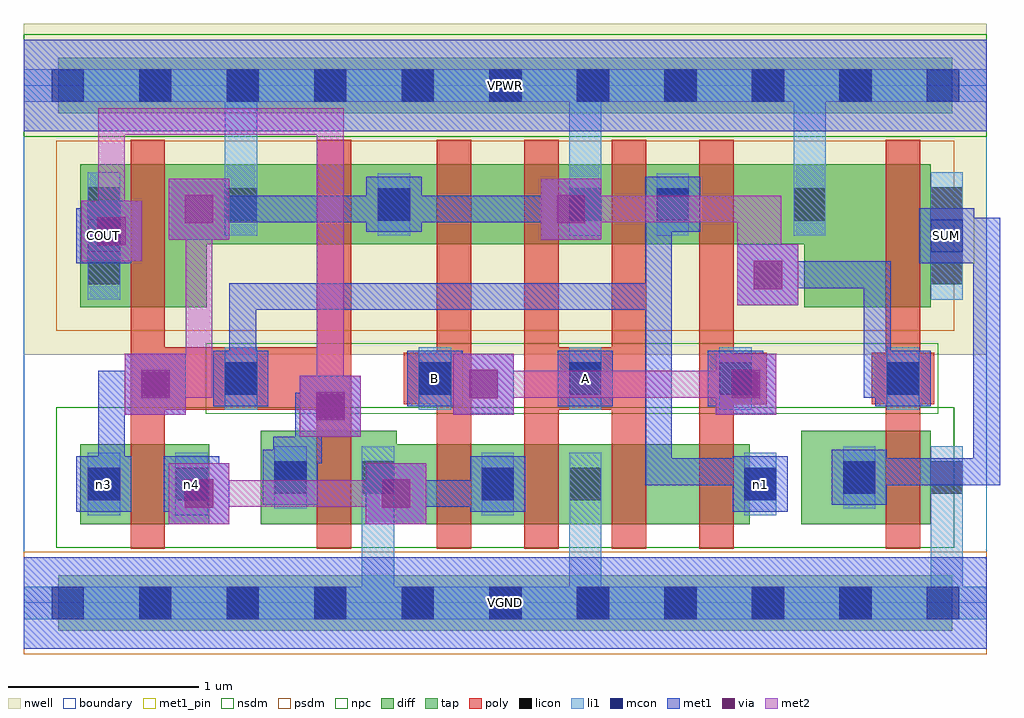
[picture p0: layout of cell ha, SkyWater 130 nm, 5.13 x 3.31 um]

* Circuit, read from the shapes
.subckt ha A B COUT SUM VGND VPWR n1 n3 n4
XM1 n4 n1 n3 VGND sky130_fd_pr__nfet_01v8 w=0.42 l=0.18
XM2 VGND n1 COUT VGND sky130_fd_pr__nfet_01v8 w=0.49 l=0.18
XM3 n4 B VGND VGND sky130_fd_pr__nfet_01v8 w=0.42 l=0.18
XM4 VGND A n4 VGND sky130_fd_pr__nfet_01v8 w=0.42 l=0.18
XM5 n2 A VGND VGND sky130_fd_pr__nfet_01v8 w=0.42 l=0.18
XM6 n1 B n2 VGND sky130_fd_pr__nfet_01v8 w=0.42 l=0.18
XM7 n5 n3 SUM VGND sky130_fd_pr__nfet_01v8 w=0.49 l=0.18
XM8 VPWR n1 COUT VPWR sky130_fd_pr__pfet_01v8 w=0.75 l=0.18
XM9 n3 n1 VPWR VPWR sky130_fd_pr__pfet_01v8 w=0.42 l=0.18
XM10 n6 B n3 VPWR sky130_fd_pr__pfet_01v8 w=0.42 l=0.18
XM11 VPWR A n6 VPWR sky130_fd_pr__pfet_01v8 w=0.42 l=0.18
XM12 n1 A VPWR VPWR sky130_fd_pr__pfet_01v8 w=0.42 l=0.18
XM13 VPWR B n1 VPWR sky130_fd_pr__pfet_01v8 w=0.42 l=0.18
XM14 n7 n3 VPWR VPWR sky130_fd_pr__pfet_01v8 w=0.75 l=0.18
.ends

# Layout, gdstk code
import gdstk
lib = gdstk.Library(unit=1e-6, precision=1e-09)
def R(c, l, rs):  # rectangles x0, y0, x1, y1
    for r in rs: c.add(gdstk.rectangle(r[:2], r[2:], *l))
def A(c, l, x, y, w, h, nx, ny, dx, dy):  # array of equal rectangles
    R(c, l, [(x+i*dx, y+j*dy, x+i*dx+w, y+j*dy+h) for i in range(nx) for j in range(ny)])
nwell = (64, 20)
diff = (65, 20)
tap = (65, 44)
poly = (66, 20)
licon = (66, 44)
li1 = (67, 20)
mcon = (67, 44)
met1_pin = (68, 16)
met1 = (68, 20)
via = (68, 44)
met2 = (69, 20)
nsdm = (93, 44)
psdm = (94, 20)
npc = (95, 20)
boundary = (235, 4)

c_ha = lib.new_cell('ha')
R(c_ha, nwell, [(0,1.305,5.06,3.045)])
R(c_ha, diff, [(0.295,0.415,0.975,0.835), (1.245,0.415,3.815,0.835), (1.245,0.415,1.96,0.905), (4.085,0.415,4.765,0.905), (0.295,1.555,0.96,2.305), (4.1,1.555,4.765,2.305), (0.295,1.885,4.765,2.305)])
R(c_ha, tap, [(0.18,-0.145,4.88,0.145), (0.18,2.575,4.88,2.865)])
A(c_ha, poly, 2.17, 0.285, 0.18, 2.15, 4, 1, 0.46, 0)
R(c_ha, poly, [(0.56,0.285,0.74,2.435), (1.54,0.285,1.72,2.435), (4.53,0.285,4.71,2.435), (0.56,1.015,1.72,1.345), (2.63,1.015,3.27,1.345), (1.995,1.045,2.325,1.315), (3.575,1.045,3.905,1.315), (4.455,1.045,4.785,1.315)])
A(c_ha, licon, 0.605, -0.085, 0.17, 0.17, 9, 2, 0.46, 2.72)
A(c_ha, licon, 2.075, 1.095, 0.17, 0.17, 3, 1, 0.79, 0)
R(c_ha, licon, [(0.335,0.54,0.505,0.71), (0.795,0.54,0.965,0.71), (2.405,0.54,2.575,0.71), (2.865,0.54,3.035,0.71), (3.785,0.54,3.955,0.71), (1.315,0.575,1.485,0.745), (1.775,0.575,1.945,0.745), (4.305,0.575,4.475,0.745), (4.765,0.575,4.935,0.745), (1.055,1.095,1.225,1.265), (4.535,1.095,4.705,1.265), (0.335,1.675,0.505,1.845), (4.765,1.675,4.935,1.845), (1.055,2.01,1.225,2.18), (1.86,2.01,2.03,2.18), (2.865,2.01,3.035,2.18), (3.325,2.01,3.495,2.18), (4.045,2.01,4.215,2.18), (0.335,2.015,0.505,2.185), (4.765,2.015,4.935,2.185)])
A(c_ha, li1, 2.075, 1.015, 0.17, 0.33, 3, 1, 0.79, 0)
R(c_ha, li1, [(0,-0.085,5.06,0.085), (1.775,-0.085,1.945,0.825), (2.865,-0.085,3.035,0.79), (4.765,-0.085,4.935,0.825), (0.335,0.46,0.505,0.79), (0.795,0.46,0.965,0.79), (2.405,0.46,2.575,0.79), (2.865,0.46,3.035,0.79), (3.785,0.46,3.955,0.79), (1.315,0.495,1.485,0.825), (1.775,0.495,1.945,0.825), (4.305,0.495,4.475,0.825), (4.765,0.495,4.935,0.825), (1.055,1.015,1.225,1.345), (4.535,1.015,4.705,1.345), (0.335,1.595,0.505,2.265), (4.765,1.595,4.935,2.265), (1.055,1.93,1.225,2.26), (1.055,1.93,1.225,2.805), (1.86,1.93,2.03,2.26), (2.865,1.93,3.035,2.26), (2.865,1.93,3.035,2.805), (3.325,1.93,3.495,2.26), (4.045,1.93,4.215,2.26), (4.045,1.93,4.215,2.805), (0,2.635,5.06,2.805)])
A(c_ha, mcon, 0.145, -0.085, 0.17, 0.17, 11, 2, 0.46, 2.72)
A(c_ha, mcon, 2.075, 1.095, 0.17, 0.17, 3, 1, 0.79, 0)
R(c_ha, mcon, [(0.335,0.54,0.505,0.71), (0.795,0.54,0.965,0.71), (2.405,0.54,2.575,0.71), (3.785,0.54,3.955,0.71), (1.315,0.575,1.485,0.745), (4.305,0.575,4.475,0.745), (1.055,1.095,1.225,1.265), (4.535,1.095,4.705,1.265), (0.335,1.845,0.505,2.015), (4.765,1.845,4.935,2.015), (1.86,2.01,2.03,2.18), (3.325,2.01,3.495,2.18)])
R(c_ha, met1_pin, [(0,-0.24,5.06,0.24), (2.015,1.035,2.305,1.325), (2.805,1.035,3.095,1.325), (0.275,1.785,0.565,2.075), (4.705,1.785,4.995,2.075), (0,2.48,5.06,2.96)])
A(c_ha, met1, 2.015, 1.035, 0.29, 0.29, 3, 1, 0.79, 0)
R(c_ha, met1, [(0,-0.24,5.06,0.24), (0.76,0.415,1.08,0.735), (1.795,0.415,2.115,0.735), (0.275,0.48,0.565,0.77), (0.735,0.48,1.025,0.77), (2.345,0.48,2.635,0.77), (3.725,0.48,4.015,0.77), (0.85,0.505,0.99,0.645), (1.885,0.505,2.485,0.645), (2.345,0.505,2.485,0.645), (1.255,0.515,1.545,0.805), (4.245,0.515,4.535,0.805), (0.39,0.62,0.53,0.76), (0.39,0.62,0.53,1.22), (1.31,0.62,1.45,0.76), (1.31,0.62,1.45,0.875), (3.265,0.62,3.405,1.68), (3.265,0.62,3.865,0.76), (3.725,0.62,3.865,0.76), (4.3,0.62,4.44,0.76), (4.3,0.62,5.13,0.76), (4.99,0.62,5.13,2.025), (1.31,0.735,1.565,0.875), (1.425,0.735,1.565,1.105), (1.45,0.875,1.77,1.195), (1.425,0.965,1.68,1.105), (0.53,0.99,0.85,1.31), (2.255,0.99,2.575,1.31), (3.635,0.99,3.955,1.31), (0.995,1.035,1.285,1.325), (4.475,1.035,4.765,1.325), (0.39,1.08,0.76,1.22), (1.08,1.08,1.22,1.22), (1.08,1.08,1.22,1.68), (2.115,1.08,2.255,1.22), (2.115,1.08,2.485,1.22), (3.725,1.08,3.865,1.22), (4.415,1.08,4.555,1.795), (4.415,1.08,4.67,1.22), (4.53,1.08,4.67,1.22), (1.08,1.54,3.405,1.68), (3.265,1.54,3.405,2.14), (3.75,1.565,4.07,1.885), (3.84,1.655,4.555,1.795), (0.275,1.785,0.565,2.075), (4.705,1.785,4.995,2.075), (0.3,1.795,0.62,2.115), (0.39,1.885,0.53,2.025), (4.76,1.885,4.9,2.025), (4.76,1.885,5.13,2.025), (0.76,1.91,1.08,2.23), (2.715,1.91,3.035,2.23), (1.8,1.95,2.09,2.24), (3.265,1.95,3.555,2.24), (0.85,2,2.025,2.14), (1.885,2,2.025,2.14), (1.885,2,2.945,2.14), (3.265,2,3.405,2.14), (0,2.48,5.06,2.96)])
R(c_ha, via, [(0.845,0.5,0.995,0.65), (1.88,0.5,2.03,0.65), (1.535,0.96,1.685,1.11), (0.615,1.075,0.765,1.225), (2.34,1.075,2.49,1.225), (3.72,1.075,3.87,1.225), (3.835,1.65,3.985,1.8), (0.385,1.88,0.535,2.03), (0.845,1.995,0.995,2.145), (2.8,1.995,2.95,2.145)])
R(c_ha, met2, [(0.76,0.415,1.08,0.735), (1.795,0.415,2.115,0.735), (0.85,0.505,2.025,0.645), (1.45,0.875,1.77,1.195), (1.54,0.965,1.68,2.6), (0.53,0.99,0.85,1.31), (2.255,0.99,2.575,1.31), (3.635,0.99,3.955,1.31), (0.62,1.08,0.99,1.22), (0.85,1.08,0.99,2.14), (2.345,1.08,3.865,1.22), (3.75,1.565,4.07,1.885), (3.84,1.655,3.98,2.14), (0.3,1.795,0.62,2.115), (0.39,1.885,0.53,2.6), (3.75,1.885,3.98,2), (0.76,1.91,1.08,2.23), (2.715,1.91,3.035,2.23), (2.805,2,3.98,2.14), (0.39,2.46,1.68,2.6)])
R(c_ha, nsdm, [(0.17,0.29,4.89,1.03), (0,2.45,5.06,2.99)])
R(c_ha, psdm, [(0,-0.27,5.06,0.27), (0.17,1.43,4.89,2.43)])
R(c_ha, npc, [(0.955,0.995,4.805,1.365)])
R(c_ha, boundary, [(0,0,5.06,2.72)])
c_ha.add(gdstk.Label('n3', (0.42,0.625), layer=67, texttype=5))
c_ha.add(gdstk.Label('n4', (0.88,0.625), layer=67, texttype=5))
c_ha.add(gdstk.Label('n1', (3.87,0.625), layer=67, texttype=5))
c_ha.add(gdstk.Label('A', (2.95,1.18), layer=68, texttype=5))
c_ha.add(gdstk.Label('B', (2.16,1.18), layer=68, texttype=5))
c_ha.add(gdstk.Label('COUT', (0.42,1.93), layer=68, texttype=5))
c_ha.add(gdstk.Label('SUM', (4.85,1.93), layer=68, texttype=5))
c_ha.add(gdstk.Label('VPWR', (2.53,2.72), layer=68, texttype=5))
c_ha.add(gdstk.Label('VGND', (2.53,0), layer=68, texttype=5))
c_ha.add(gdstk.Label('A', (2.95,1.18), layer=68, texttype=16))
c_ha.add(gdstk.Label('B', (2.16,1.18), layer=68, texttype=16))
c_ha.add(gdstk.Label('COUT', (0.42,1.93), layer=68, texttype=16))
c_ha.add(gdstk.Label('SUM', (4.85,1.93), layer=68, texttype=16))
c_ha.add(gdstk.Label('VPWR', (2.53,2.72), layer=68, texttype=16))
c_ha.add(gdstk.Label('VGND', (2.53,0), layer=68, texttype=16))

lib.write_gds('ha.gds')
